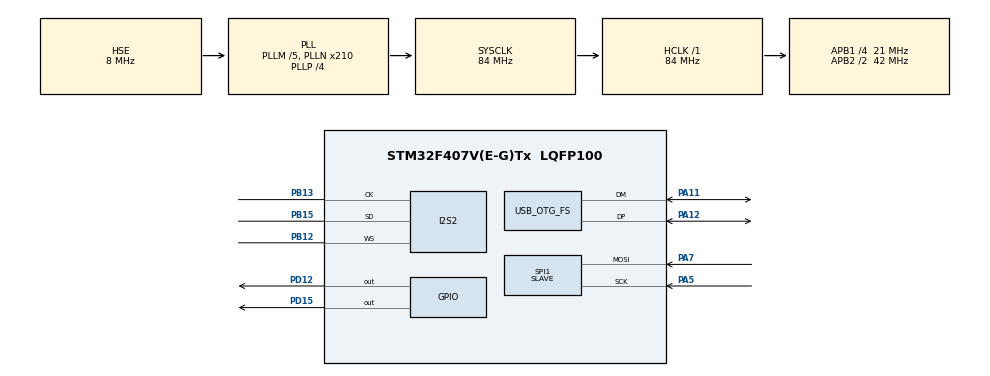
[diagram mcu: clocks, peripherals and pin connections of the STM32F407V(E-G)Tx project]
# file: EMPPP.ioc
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Dma.Request0=SPI2_RX
Dma.Request1=SPI1_RX
Dma.SPI1_RX.1.Direction=DMA_PERIPH_TO_MEMORY
Dma.SPI1_RX.1.FIFOMode=DMA_FIFOMODE_DISABLE
Dma.SPI1_RX.1.Instance=DMA2_Stream0
Dma.SPI1_RX.1.MemDataAlignment=DMA_MDATAALIGN_HALFWORD
Dma.SPI1_RX.1.MemInc=DMA_MINC_ENABLE
Dma.SPI1_RX.1.Mode=DMA_CIRCULAR
Dma.SPI1_RX.1.PeriphDataAlignment=DMA_PDATAALIGN_HALFWORD
Dma.SPI1_RX.1.PeriphInc=DMA_PINC_DISABLE
Dma.SPI1_RX.1.Priority=DMA_PRIORITY_LOW
Dma.SPI2_RX.0.Direction=DMA_PERIPH_TO_MEMORY
Dma.SPI2_RX.0.FIFOMode=DMA_FIFOMODE_DISABLE
Dma.SPI2_RX.0.Instance=DMA1_Stream3
Dma.SPI2_RX.0.MemDataAlignment=DMA_MDATAALIGN_HALFWORD
Dma.SPI2_RX.0.MemInc=DMA_MINC_ENABLE
Dma.SPI2_RX.0.Mode=DMA_CIRCULAR
Dma.SPI2_RX.0.PeriphDataAlignment=DMA_PDATAALIGN_HALFWORD
Dma.SPI2_RX.0.PeriphInc=DMA_PINC_DISABLE
Dma.SPI2_RX.0.Priority=DMA_PRIORITY_LOW
I2S2.AudioFreq=I2S_AUDIOFREQ_48K
I2S2.DataFormat=I2S_DATAFORMAT_32B
I2S2.ErrorAudioFreq=0.0 %
I2S2.FullDuplexMode=I2S_FULLDUPLEXMODE_DISABLE
I2S2.Instance=SPI$Index
I2S2.Mode=I2S_MODE_MASTER_RX
I2S2.RealAudioFreq=48.0 KHz
I2S2.Standard=I2S_STANDARD_MSB
I2S2.VirtualMode=I2S_MODE_MASTER
Mcu.Family=STM32F4
Mcu.Name=STM32F407V(E-G)Tx
Mcu.Package=LQFP100
NVIC.DMA1_Stream3_IRQn=true\:3\:0\:true\:false\:true\:false\:true
NVIC.DMA2_Stream0_IRQn=true\:15\:0\:true\:false\:true\:false\:true
NVIC.OTG_FS_IRQn=true\:2\:0\:true\:false\:true\:false\:true
NVIC.PriorityGroup=NVIC_PRIORITYGROUP_4
NVIC.TIM8_TRG_COM_TIM14_IRQn=true\:4\:0\:true\:false\:true\:true\:true
PA11.Mode=Device_Only
PA11.Signal=USB_OTG_FS_DM
PA12.Mode=Device_Only
PA12.Signal=USB_OTG_FS_DP
PA5.GPIO_PuPd=GPIO_NOPULL
PA5.GPIO_Speed=GPIO_SPEED_FREQ_MEDIUM
PA5.Mode=RX_Only_Simplex_Unidirect_Slave
PA5.Signal=SPI1_SCK
PA7.GPIO_PuPd=GPIO_NOPULL
PA7.GPIO_Speed=GPIO_SPEED_FREQ_MEDIUM
PA7.Mode=RX_Only_Simplex_Unidirect_Slave
PA7.Signal=SPI1_MOSI
PB12.GPIO_Speed=GPIO_SPEED_FREQ_LOW
PB12.Mode=Half_Duplex_Master
PB12.Signal=I2S2_WS
PB13.GPIO_PuPd=GPIO_NOPULL
PB13.GPIO_Speed=GPIO_SPEED_FREQ_MEDIUM
PB13.Mode=Half_Duplex_Master
PB13.Signal=I2S2_CK
PB15.GPIO_PuPd=GPIO_NOPULL
PB15.GPIO_Speed=GPIO_SPEED_FREQ_MEDIUM
PB15.Mode=Half_Duplex_Master
PB15.Signal=I2S2_SD
PD12.Signal=GPIO_Output
PD15.Signal=GPIO_Output
PDM2PCM.CHANNEL1_in_ptr_channels=1
PDM2PCM.CHANNEL1_mic_gain=20
PDM2PCM.CHANNEL1_out_ptr_channels=1
PDM2PCM.CHANNEL2_in_ptr_channels=1
PDM2PCM.CHANNEL2_mic_gain=20
PDM2PCM.CHANNEL2_out_ptr_channels=1
PDM2PCM.NbCHANNEL=2
PH0-OSC_IN.Mode=HSE-External-Oscillator
PH0-OSC_IN.Signal=RCC_OSC_IN
PH1-OSC_OUT.Mode=HSE-External-Oscillator
PH1-OSC_OUT.Signal=RCC_OSC_OUT
ProjectManager.HeapSize=0x4000
ProjectManager.StackSize=0x2000
ProjectManager.TargetToolchain=STM32CubeIDE
RCC.48MHZClocksFreq_Value=48000000
RCC.AHBFreq_Value=84000000
RCC.APB1CLKDivider=RCC_HCLK_DIV4
RCC.APB1Freq_Value=21000000
RCC.APB1TimFreq_Value=42000000
RCC.APB2CLKDivider=RCC_HCLK_DIV2
RCC.APB2Freq_Value=42000000
RCC.APB2TimFreq_Value=84000000
RCC.CortexFreq_Value=84000000
RCC.EnbaleCSS=true
RCC.HCLKFreq_Value=84000000
RCC.HSE_VALUE=8000000
RCC.HSI_VALUE=16000000
RCC.LSE_VALUE=32768
RCC.PLLI2SR=5
RCC.PLLM=5
RCC.PLLN=210
RCC.PLLP=RCC_PLLP_DIV4
RCC.PLLQ=7
RCC.SYSCLKFreq_VALUE=84000000
RCC.SYSCLKSource=RCC_SYSCLKSOURCE_PLLCLK
RCC.VCOOutputFreq_Value=336000000
SPI1.DataSize=SPI_DATASIZE_16BIT
SPI1.Direction=SPI_DIRECTION_2LINES_RXONLY
SPI1.Mode=SPI_MODE_SLAVE
SPI1.VirtualType=VM_SLAVE
TIM14.Period=2300-1
TIM14.Prescaler=21-1
USB_DEVICE.CLASS_NAME_FS=AUDIO
USB_DEVICE.USBD_AUDIO_FREQ-AUDIO_FS=48000
USB_DEVICE.VirtualMode-AUDIO_FS=Audio
USB_DEVICE.VirtualModeFS=Audio_FS
USB_OTG_FS.VirtualMode=Device_Only
VP_CRC_VS_CRC.Mode=CRC_Activate
VP_PDM2PCM_VS_PDM2PCM.Mode=PDM2PCM_Channel
VP_TIM14_VS_ClockSourceINT.Mode=Enable_Timer
VP_USB_DEVICE_VS_USB_DEVICE_AUDIO_FS.Mode=AUDIO_FS
board=custom

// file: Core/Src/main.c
/* USER CODE BEGIN Header */
/**
  ******************************************************************************
  * @file           : main.c
  * @brief          : Main program body
  ******************************************************************************
  * @attention
  *
  * <h2><center>&copy; Copyright (c) 2021 STMicroelectronics.
  * All rights reserved.</center></h2>
  *
  * This software component is licensed by ST under BSD 3-Clause license,
  * the "License"; You may not use this file except in compliance with the
  * License. You may obtain a copy of the License at:
  *                        opensource.org/licenses/BSD-3-Clause
  *
  ******************************************************************************
  */
/* USER CODE END Header */
#include "main.h"
#include "crc.h"
#include "dma.h"
#include "i2s.h"
#include "pdm2pcm.h"
#include "spi.h"
#include "tim.h"
#include "usb_device.h"
#include "gpio.h"

/* USER CODE BEGIN Includes */

#include "usbd_audio_if.h"
#define ARM_MATH_CM4
#include "arm_math.h"
#include "bosz.h"

/* USER CODE END Includes */

/* USER CODE BEGIN PD */

#define BUFF_OGOLNY 480
#define FILTER_NUM 82
#define BLOCK_SIZE_FLOAT 48
#define PDM_SIZE 384

/* USER CODE END PD */

/* USER CODE BEGIN PV */

uint16_t pdmRxBuf[PDM_SIZE];
uint16_t pdmRxBuf2[PDM_SIZE];
extern USBD_HandleTypeDef hUsbDeviceFS;

uint16_t MidBuffer[PDM_SIZE/8];
uint16_t * ptr_MidBuffer = &MidBuffer[0];

q31_t MidBuffer_1[PDM_SIZE/8];
q31_t MidBuffer_2[PDM_SIZE/8];

uint8_t rxstate = 0;
uint16_t usbstate = 0;

uint8_t DMA_runn = 0;
uint16_t fir_w = 0;

q31_t fifobuf_f[BUFF_OGOLNY];
q31_t fifobuf_f2[BUFF_OGOLNY];

uint16_t fifo_w_ptr = 0;
uint16_t fifo_r_ptr = 0;

uint16_t fifo_w_ptr2 = 0;
uint16_t fifo_r_ptr2 = 0;

int16_t diffrent = 0;
uint16_t licznik = 0;

q31_t filter_tab[FILTER_NUM]={
	     -29713931,    -1635910,     2131509,    -2941912,     4005173,    -5250669,
	       6591543,    -7930096,     9158950,   -10166461,    10840805,   -11075856,
	      10776764,    -9865628,     8287330,    -6013730,     3048806,      570251,
	      -4768478,     9438571,   -14406657,    19577807,   -24598702,    29310608,
	     -33430069,    36670039,   -38729859,    39301807,   -38069546,    34706520,
	     -28864852,    20153421,    -8093191,    -7968794,    29029755,   -56792706,
	      94509382,  -149271075,   239781175,  -435214886,  1360236750,  1360236750,
	    -435214886,   239781175,  -149271075,    94509382,   -56792706,    29029755,
	      -7968794,    -8093191,    20153421,   -28864852,    34706520,   -38069546,
	      39301807,   -38729859,    36670039,   -33430069,    29310608,   -24598702,
	      19577807,   -14406657,     9438571,    -4768478,      570251,     3048806,
	      -6013730,     8287330,    -9865628,    10776764,   -11075856,    10840805,
	     -10166461,     9158950,    -7930096,     6591543,    -5250669,     4005173,
	      -2941912,     2131509,    -1635910,   -29713931
	}; //od22k-do23.5k-dla48kHz //82

arm_fir_instance_q31 firsetting1, firsetting2;

q31_t fir_state1[BLOCK_SIZE_FLOAT + FILTER_NUM - 1];
q31_t fir_state2[BLOCK_SIZE_FLOAT + FILTER_NUM - 1];

/* USER CODE END PV */

void SystemClock_Config(void);
/* USER CODE BEGIN PFP */

void HAL_I2S_RxHalfCpltCallback (I2S_HandleTypeDef *hi2s);
void HAL_I2S_RxCpltCallback (I2S_HandleTypeDef *hi2s);
void HAL_SPI_RxHalfCpltCallback(SPI_HandleTypeDef *hspi);
void HAL_SPI_RxCpltCallback(SPI_HandleTypeDef *hspi);

void FifoWrite_Q31();
uint16_t FifoRead_Q31();

void FifoWrite_Q31_2();
uint16_t FifoRead_Q31_2();

void HAL_TIM_PeriodElapsedCallback(TIM_HandleTypeDef *htim);

void ADC_to_MIC(void){ //funkcja Call dla USB Audio

	HAL_SPI_Receive_DMA(&hspi1, (uint8_t *)pdmRxBuf2, PDM_SIZE);
	HAL_I2S_Receive_DMA(&hi2s2, &pdmRxBuf[0], PDM_SIZE/2);

	LED4_ON();
	HAL_TIM_Base_Start_IT(&htim14);
	__HAL_TIM_SET_COUNTER(&htim14,0);

	if(DMA_runn==1){
		usbstate = 1;
	}
	else {
		usbstate = 2;
	}

}

void Zatrzymaj_DMA(){

	fifo_w_ptr = fifo_r_ptr + 240;
	if (fifo_w_ptr>BUFF_OGOLNY){fifo_w_ptr=fifo_w_ptr-BUFF_OGOLNY;}
	fifo_w_ptr2 = fifo_w_ptr;

	(GPIOD->ODR ^= (GPIO_PIN_15));

}

void Zatrzymaj_DMA_WatchDog(){

	HAL_I2S_DMAStop(&hi2s2);
	HAL_SPI_DMAStop(&hspi1);
	//memset(&fifobuf_f_out, (uint8_t) 0, sizeof(fifobuf_f_out));
	memset(&fifobuf_f, (uint8_t) 0, sizeof(fifobuf_f));
	memset(&pdmRxBuf, (uint8_t) 0, sizeof(pdmRxBuf));
	//memset(&fir_state1, (uint8_t) 0, sizeof(fir_state1));
	arm_fir_init_q31(&firsetting1, FILTER_NUM, &filter_tab[0], &fir_state1[0], BLOCK_SIZE_FLOAT);

	//memset(&fifobuf_f2_out, (uint8_t) 0, sizeof(fifobuf_f2_out));
	memset(&fifobuf_f2, (uint8_t) 0, sizeof(fifobuf_f2));
	memset(&pdmRxBuf2, (uint8_t) 0, sizeof(pdmRxBuf2));
	//memset(&fir_state2, (uint8_t) 0, sizeof(fir_state2));
	arm_fir_init_q31(&firsetting2, FILTER_NUM, &filter_tab[0], &fir_state2[0], BLOCK_SIZE_FLOAT);

	fifo_w_ptr = 0;
	fifo_r_ptr = 0;
	fifo_w_ptr2 = 0;
	fifo_r_ptr2 = 0;
	rxstate = 0;
	DMA_runn = 0;
	usbstate = 2;
	fir_w = 0;
	LED1_OFF();
	LED4_OFF();

}
/* USER CODE END PFP */

int main(void)
{

  /* MCU Configuration--------------------------------------------------------*/

  /* Reset of all peripherals, Initializes the Flash interface and the Systick. */
  HAL_Init();

  /* Configure the system clock */
  SystemClock_Config();

  /* Initialize all configured peripherals */
  MX_GPIO_Init();
  MX_DMA_Init();
  MX_I2S2_Init();
  MX_CRC_Init();
  MX_PDM2PCM_Init();
  MX_USB_DEVICE_Init();
  MX_SPI1_Init();
  MX_TIM14_Init();
  /* USER CODE BEGIN 2 */

  arm_fir_init_q31(&firsetting1, FILTER_NUM, &filter_tab[0], &fir_state1[0], BLOCK_SIZE_FLOAT);
  arm_fir_init_q31(&firsetting2, FILTER_NUM, &filter_tab[0], &fir_state2[0], BLOCK_SIZE_FLOAT);

  /* USER CODE END 2 */

  /* Infinite loop */
  /* USER CODE BEGIN WHILE */
  while (1)
  {

	if (rxstate==1) {

		PDM_Filter(&pdmRxBuf[0],ptr_MidBuffer, &PDM1_filter_handler);
	 	PDM_Filter(&pdmRxBuf[64],ptr_MidBuffer+16, &PDM1_filter_handler);
	 	PDM_Filter(&pdmRxBuf[128],ptr_MidBuffer+32, &PDM1_filter_handler);

	 	for (int i=0; i<PDM_SIZE/8;++i) {

	 	    	FifoWrite_Q31();
	 	    	MidBuffer_1[i]= ((int) (MidBuffer[i]<<16)|0x0000);

	 	}

	 	PDM_Filter(&pdmRxBuf2[0],ptr_MidBuffer, &PDM2_filter_handler);
	 	PDM_Filter(&pdmRxBuf2[64],ptr_MidBuffer+16, &PDM2_filter_handler);
	 	PDM_Filter(&pdmRxBuf2[128],ptr_MidBuffer+32, &PDM2_filter_handler);

	 	for (int i=0; i<PDM_SIZE/8;++i) {

	 	    	FifoWrite_Q31_2();
	 	    	MidBuffer_2[i]= ((int) (MidBuffer[i]<<16)|0x0000);

	 	}

	 	fir_w=fifo_w_ptr;
	 	rxstate=0;

	}

	if (rxstate==2) {

 	      	PDM_Filter(&pdmRxBuf[192],ptr_MidBuffer, &PDM1_filter_handler);
 	      	PDM_Filter(&pdmRxBuf[256],ptr_MidBuffer+16, &PDM1_filter_handler);
 	      	PDM_Filter(&pdmRxBuf[320],ptr_MidBuffer+32, &PDM1_filter_handler);

 	      	for (int i=0; i<PDM_SIZE/8;++i) {

 	      		FifoWrite_Q31();
 	      		MidBuffer_1[i]= ((int) (MidBuffer[i]<<16)|0x0000);

 	      	}

 	      	PDM_Filter(&pdmRxBuf2[192],ptr_MidBuffer, &PDM2_filter_handler);
 	      	PDM_Filter(&pdmRxBuf2[256],ptr_MidBuffer+16, &PDM2_filter_handler);
 	      	PDM_Filter(&pdmRxBuf2[320],ptr_MidBuffer+32, &PDM2_filter_handler);

 	      	for (int i=0; i<PDM_SIZE/8;++i) {

 	      		FifoWrite_Q31_2();
 	      		MidBuffer_2[i]= ((int) (MidBuffer[i]<<16)|0x0000);

 	      	}

 	      	fir_w=fifo_w_ptr;
 	      	rxstate=0;
	 }

	 if (fir_w > 0){
	  	  arm_fir_q31(&firsetting1, &MidBuffer_1[0] , &fifobuf_f[fir_w - BLOCK_SIZE_FLOAT], BLOCK_SIZE_FLOAT);
	  	  arm_fir_q31(&firsetting2, &MidBuffer_2[0] , &fifobuf_f2[fir_w - BLOCK_SIZE_FLOAT], BLOCK_SIZE_FLOAT);

	    	  if (fir_w-fifo_r_ptr>48 && DMA_runn==0 ) {DMA_runn = 1;}
		    	  ++licznik;
		    	  if(licznik%1000==0){
		    		  diffrent = ((int16_t) fir_w) - ((int16_t)fifo_r_ptr);
		    		  if(diffrent<0){diffrent=diffrent+BUFF_OGOLNY;}
	   		  	  if(diffrent>96){
		  		  	fifo_w_ptr = fifo_r_ptr + 96;
	  		    	  	if (fifo_w_ptr>BUFF_OGOLNY){fifo_w_ptr=fifo_w_ptr-BUFF_OGOLNY;}
	    			  	fifo_w_ptr2 = fifo_w_ptr;
	  	 			}

		  	  	  licznik = 0;
	  	}
	  	fir_w = 0;
	  }
	  if(usbstate == 1){

	    	  USBD_AUDIO_HandleTypeDef *haudio = hUsbDeviceFS.pClassData;
	    	  int16_t *buf_part = haudio->in_buffer + (AUDIO_IN_PACKET / 2) * haudio->in_buffer_half;  // USB mic buffer access

	    	  for (uint16_t i = 0; i < (AUDIO_IN_PACKET / 2); i+=2) {

	    		  //uint16_t temp = FifoRead_Q31();
	  	  	  *(buf_part+i) = FifoRead_Q31();
	  	  	  *(buf_part+i+1) = FifoRead_Q31_2();
		  }

	    	  usbstate=0;

	   }

	   if(usbstate == 2){ //gdy USB potrzebuje danych a ich jeszcze niema

	    	  USBD_AUDIO_HandleTypeDef *haudio = hUsbDeviceFS.pClassData;
	    	  int16_t *buf_part = haudio->in_buffer + (AUDIO_IN_PACKET / 2) * haudio->in_buffer_half;  // USB mic buffer access
	    	  //pobranie adresu do wypelnienia

	    	  for (uint16_t i = 0; i < (AUDIO_IN_PACKET / 2); i+=2) {

	  	  	*(buf_part+i) = 0;
	  	  	*(buf_part+i+1) = 0;

	  	  }

	    	  usbstate=0;
	    }

    /* USER CODE END WHILE */

  }
}

void SystemClock_Config(void)
{
  RCC_OscInitTypeDef RCC_OscInitStruct = {0};
  RCC_ClkInitTypeDef RCC_ClkInitStruct = {0};

  /** Configure the main internal regulator output voltage
  */
  __HAL_RCC_PWR_CLK_ENABLE();
  __HAL_PWR_VOLTAGESCALING_CONFIG(PWR_REGULATOR_VOLTAGE_SCALE1);
  /** Initializes the RCC Oscillators according to the specified parameters
  * in the RCC_OscInitTypeDef structure.
  */
  RCC_OscInitStruct.OscillatorType = RCC_OSCILLATORTYPE_HSE;
  RCC_OscInitStruct.HSEState = RCC_HSE_ON;
  RCC_OscInitStruct.PLL.PLLState = RCC_PLL_ON;
  RCC_OscInitStruct.PLL.PLLSource = RCC_PLLSOURCE_HSE;
  RCC_OscInitStruct.PLL.PLLM = 5;
  RCC_OscInitStruct.PLL.PLLN = 210;
  RCC_OscInitStruct.PLL.PLLP = RCC_PLLP_DIV4;
  RCC_OscInitStruct.PLL.PLLQ = 7;
  if (HAL_RCC_OscConfig(&RCC_OscInitStruct) != HAL_OK)
  {
    Error_Handler();
  }
  /** Initializes the CPU, AHB and APB buses clocks
  */
  RCC_ClkInitStruct.ClockType = RCC_CLOCKTYPE_HCLK|RCC_CLOCKTYPE_SYSCLK
                              |RCC_CLOCKTYPE_PCLK1|RCC_CLOCKTYPE_PCLK2;
  RCC_ClkInitStruct.SYSCLKSource = RCC_SYSCLKSOURCE_PLLCLK;
  RCC_ClkInitStruct.AHBCLKDivider = RCC_SYSCLK_DIV1;
  RCC_ClkInitStruct.APB1CLKDivider = RCC_HCLK_DIV4;
  RCC_ClkInitStruct.APB2CLKDivider = RCC_HCLK_DIV2;

  if (HAL_RCC_ClockConfig(&RCC_ClkInitStruct, FLASH_LATENCY_2) != HAL_OK)
  {
    Error_Handler();
  }
  /** Enables the Clock Security System
  */
  HAL_RCC_EnableCSS();
}

/* USER CODE BEGIN 4 */

void HAL_SPI_RxHalfCpltCallback(SPI_HandleTypeDef *hspi){
	//rxstate = 3;
	//LED1_TOGGLE();
}

void HAL_SPI_RxCpltCallback(SPI_HandleTypeDef *hspi){
	//rxstate = 4;
	//(GPIOD->ODR ^= (GPIO_PIN_15));
}

void HAL_I2S_RxHalfCpltCallback (I2S_HandleTypeDef *hi2s) {
	if (hi2s->Instance==SPI2){
	rxstate = 1;
	}
	//(GPIOD->ODR ^= (GPIO_PIN_15));
}

void HAL_I2S_RxCpltCallback (I2S_HandleTypeDef *hi2s) {
	if (hi2s->Instance==SPI2){
	rxstate = 2;
	}
}

void FifoWrite_Q31() {
	//if (fifo_w_ptr % BLOCK_SIZE_FLOAT == 0){fir_w = fifo_w_ptr;}
	if (fifo_w_ptr == BUFF_OGOLNY) {fifo_w_ptr = 0;}
	//fifobuf_f[fifo_w_ptr] = ((int) (*data<<16)|0x0000);
	++fifo_w_ptr;
	if(fifo_w_ptr==fifo_r_ptr){Zatrzymaj_DMA();}
}

uint16_t FifoRead_Q31() {
	if (fifo_r_ptr == BUFF_OGOLNY) {fifo_r_ptr = 0;}
	uint16_t val = ((fifobuf_f[fifo_r_ptr])>>16)&0xFFFF;
	//fifobuf_f_out[fifo_r_ptr]=0;//0x7FFFFFFF;
	++fifo_r_ptr;

	return val;
}

void FifoWrite_Q31_2() {
	if (fifo_w_ptr2 == BUFF_OGOLNY) {fifo_w_ptr2 = 0;}
	//fifobuf_f2[fifo_w_ptr2] = ((int) (*data<<16)|0x0000);
	++fifo_w_ptr2;
	if(fifo_w_ptr2==fifo_r_ptr2){Zatrzymaj_DMA();}
}

uint16_t FifoRead_Q31_2() {
	if (fifo_r_ptr2 == BUFF_OGOLNY) {fifo_r_ptr2 = 0;}
	uint16_t val = ((fifobuf_f2[fifo_r_ptr2])>>16)&0xFFFF;
	//fifobuf_f_out[fifo_r_ptr]=0;//0x7FFFFFFF;
	++fifo_r_ptr2;

	return val;
}

void HAL_TIM_PeriodElapsedCallback(TIM_HandleTypeDef *htim)
{
  // Check which version of the timer triggered this callback and toggle LED
  if (htim->Instance == TIM14 )
  {
	  Zatrzymaj_DMA_WatchDog();
	  HAL_TIM_Base_Stop_IT(&htim14);
	  __HAL_TIM_SET_COUNTER(&htim14,0);
  }
}

/* USER CODE END 4 */

void Error_Handler(void)
{
  __disable_irq();
  while (1)
  {
  }
}
